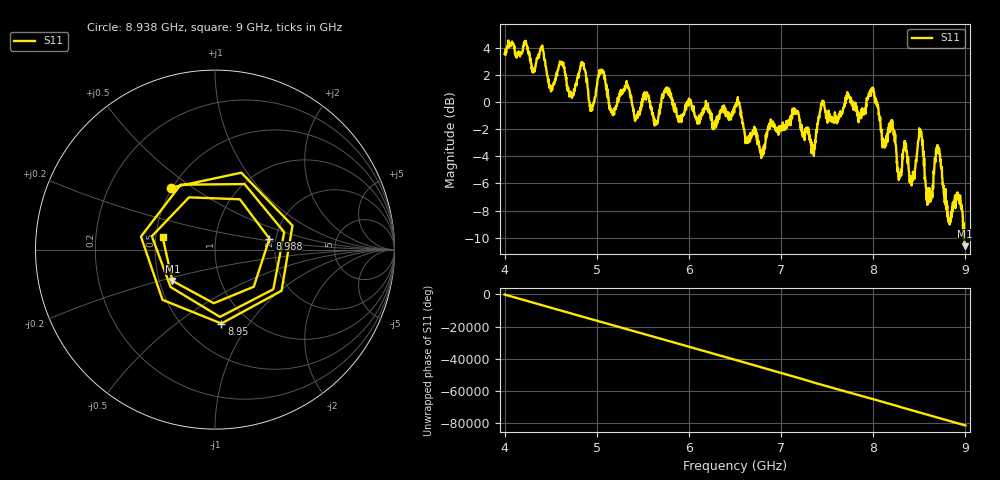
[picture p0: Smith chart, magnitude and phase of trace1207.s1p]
! Created with skrf 1.8.0 (http://scikit-rf.org).
# Hz S RI R 50.0
!freq ReS11 ImS11
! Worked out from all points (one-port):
!   1601 points, 4 GHz to 9 GHz, reference 50 ohm
!   lowest |S11| = -10.6 dB at 8.997 GHz (marker M1), VSWR 1.83, Z = 29.3 - j11.2 ohm
!   |S11| at or under -10 dB: 8.983133 GHz to end of sweep
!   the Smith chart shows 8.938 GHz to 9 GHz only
!   S11 on the Smith chart (normalised r, x): 8.938 GHz: 0.49, +0.41; 8.95 GHz: 0.75, -0.75; 8.988 GHz: 1.85, +0.25; 9 GHz: 0.54, +0.08
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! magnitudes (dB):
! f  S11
! 4 GHz  3.6
! 4.506 GHz  1.0
! 4.625 GHz  2.9
! 4.725 GHz  0.6
! 4.853 GHz  2.8
! 4.941 GHz  -0.5
! 5.05 GHz  2.4
! 5.162 GHz  -0.8
! 5.25 GHz  0.7
! 5.875 GHz  -1.1
! 6.5 GHz  -0.4
! 6.794 GHz  -4.0
! 7.125 GHz  -0.5
! 7.35 GHz  -3.7
! 7.444 GHz  -0.2
! 7.75 GHz  0.4
! 7.991 GHz  1.0
! 8.281 GHz  -5.3
! 8.375 GHz  -4.5
! 8.512 GHz  -2.1
! 8.603 GHz  -6.4
! 8.703 GHz  -3.3
! 8.816 GHz  -8.8
! 8.938 GHz  -7.5
! 8.95 GHz  -7.7
! 8.988 GHz  -10.2
! 8.997 GHz  -10.6
! 9 GHz  -10.5
